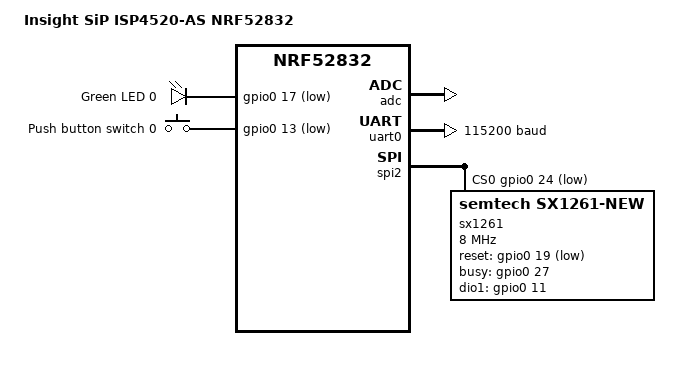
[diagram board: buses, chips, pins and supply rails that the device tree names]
/*
 * Copyright (c) 2017 Shawn Nock <shawn@monadnock.ca>
 * Copyright (c) 2017 Linaro Limited
 *
 * SPDX-License-Identifier: Apache-2.0
 */

/dts-v1/;
#include <nordic/nrf52832_qfaa.dtsi>
#include "isp4520-as_nrf52832-pinctrl.dtsi"
#include <zephyr/dt-bindings/input/input-event-codes.h>
#include <zephyr/dt-bindings/lora_lbm/sx126x.h>

/ {
	model = "Insight SiP ISP4520-AS NRF52832";
	compatible = "insightsip,isp4520-as-nrf52832";

	chosen {
		zephyr,console = &uart0;
		zephyr,shell-uart = &uart0;
		zephyr,uart-mcumgr = &uart0;
		zephyr,bt-mon-uart = &uart0;
		zephyr,bt-c2h-uart = &uart0;
		zephyr,sram = &sram0;
		zephyr,flash = &flash0;
		zephyr,code-partition = &slot0_partition;
		zephyr,lora-transceiver = &sx1261;
	};

	leds {
		compatible = "gpio-leds";
		led0: led_0 {
			gpios = <&gpio0 17 GPIO_ACTIVE_LOW>;
			label = "Green LED 0";
		};
	};

	buttons {
		compatible = "gpio-keys";
		button0: button_0 {
			gpios = <&gpio0 13 (GPIO_PULL_UP | GPIO_ACTIVE_LOW)>;
			label = "Push button switch 0";
			zephyr,code = <INPUT_KEY_0>;
		};
	};

	/* These aliases are provided for compatibility with samples */
	aliases {
		led0 = &led0;
		sw0 = &button0;
		bootloader-led0 = &led0;
		mcuboot-button0 = &button0;
		mcuboot-led0 = &led0;
		watchdog0 = &wdt0;
		lora-transceiver = &sx1261;
		smtc-hal-uart = &uart0;
        smtc-watchdog = &wdt;
		smtc-user-button = &button0;
	};
};

&adc {
	status = "okay";
};

&uicr {
	gpio-as-nreset;
};

&gpiote {
	status = "okay";
};

&gpio0 {
	status = "okay";
};

&uart0 {
	status = "okay";
	compatible = "nordic,nrf-uarte";
	current-speed = <115200>;
	pinctrl-0 = <&uart0_default>;
	pinctrl-1 = <&uart0_sleep>;
	pinctrl-names = "default", "sleep";
};

&spi2 {
	compatible = "nordic,nrf-spi";
	status = "okay";
	cs-gpios = <&gpio0 24 GPIO_ACTIVE_LOW>;
	pinctrl-0 = <&spi2_default>;
	pinctrl-1 = <&spi2_sleep>;
	pinctrl-names = "default", "sleep";
	
	sx1261: lora@0 {
		compatible = "semtech,sx1261-new";
        reg = <0>;
        spi-max-frequency = <DT_FREQ_M(8)>;
        reset-gpios = <&gpio0 19 GPIO_ACTIVE_LOW>;
        busy-gpios = <&gpio0 27 GPIO_ACTIVE_HIGH>;
        dio1-gpios = <&gpio0 11 (GPIO_ACTIVE_HIGH | GPIO_PULL_DOWN)>;
		reg-mode = <SX126X_REG_MODE_DCDC>;
        dio2-as-rf-switch;
		dio3-as-tcxo-control;
        tcxo-wakeup-time = <8>;
        tcxo-voltage = <SX126X_TCXO_SUPPLY_1_8V>;
		rx-boosted;
    };
};

&flash0 {

	partitions {
		compatible = "fixed-partitions";
		#address-cells = <1>;
		#size-cells = <1>;

		boot_partition: partition@0 {
			label = "mcuboot";
			reg = <0x00000000 0xc000>;
		};
		slot0_partition: partition@c000 {
			label = "image-0";
			reg = <0x0000C000 0x37000>;
		};
		slot1_partition: partition@43000 {
			label = "image-1";
			reg = <0x00043000 0x37000>;
		};
		storage_partition: partition@7a000 {
			label = "storage";
			reg = <0x0007a000 0x00006000>;
		};
	};
};
